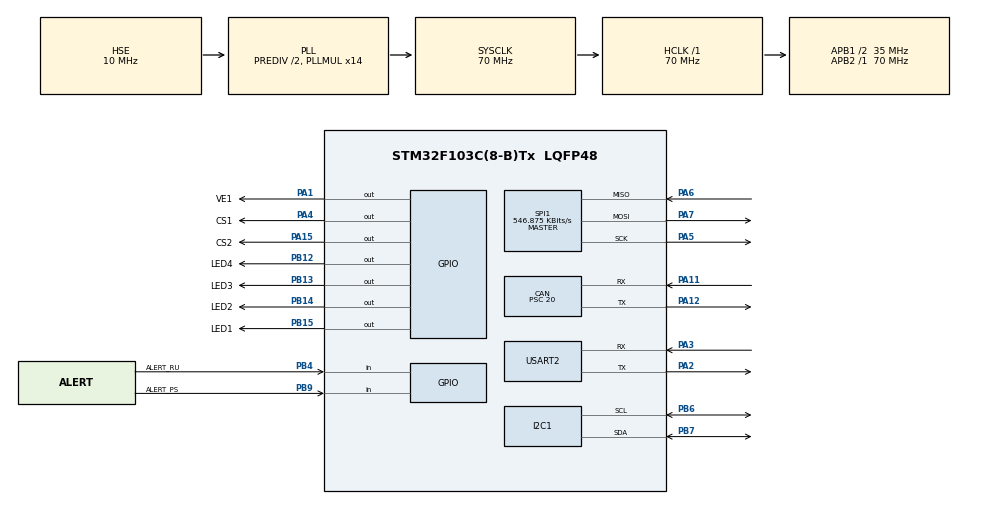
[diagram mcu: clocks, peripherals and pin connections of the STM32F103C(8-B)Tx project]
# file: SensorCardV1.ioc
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CAN.BS1=CAN_BS1_11TQ
CAN.BS2=CAN_BS2_2TQ
CAN.CalculateBaudRate=125000
CAN.CalculateTimeBit=8000
CAN.CalculateTimeQuantum=571.4285714285714
CAN.Prescaler=20
CAN.SJW=CAN_SJW_2TQ
I2C1.I2C_Mode=I2C_Standard
Mcu.Family=STM32F1
Mcu.Name=STM32F103C(8-B)Tx
Mcu.Package=LQFP48
NVIC.CAN1_RX1_IRQn=true\:0\:0\:false\:false\:true\:true\:true\:true
NVIC.PriorityGroup=NVIC_PRIORITYGROUP_4
NVIC.TIM1_BRK_IRQn=true\:0\:0\:false\:false\:true\:true\:true\:true
NVIC.TIM1_UP_IRQn=true\:0\:0\:false\:false\:true\:true\:true\:true
NVIC.TIM2_IRQn=true\:0\:0\:false\:false\:true\:true\:true\:true
NVIC.USART2_IRQn=true\:0\:0\:false\:false\:true\:true\:true\:true
NVIC.USB_LP_CAN1_RX0_IRQn=true\:0\:0\:false\:false\:true\:true\:true\:true
PA1.GPIO_Label=VE1
PA1.Signal=GPIO_Output
PA11.Mode=CAN_Activate
PA11.Signal=CAN_RX
PA12.Mode=CAN_Activate
PA12.Signal=CAN_TX
PA13.Mode=Trace_Asynchronous_SW
PA13.Signal=SYS_JTMS-SWDIO
PA14.Mode=Trace_Asynchronous_SW
PA14.Signal=SYS_JTCK-SWCLK
PA15.GPIO_Label=CS2
PA15.Signal=GPIO_Output
PA2.Mode=Asynchronous
PA2.Signal=USART2_TX
PA3.Mode=Asynchronous
PA3.Signal=USART2_RX
PA4.GPIO_Label=CS1
PA4.Signal=GPIO_Output
PA5.Mode=Full_Duplex_Master
PA5.Signal=SPI1_SCK
PA6.Mode=Full_Duplex_Master
PA6.Signal=SPI1_MISO
PA7.Mode=Full_Duplex_Master
PA7.Signal=SPI1_MOSI
PB12.GPIO_Label=LED4
PB12.Signal=GPIO_Output
PB13.GPIO_Label=LED3
PB13.Signal=GPIO_Output
PB14.GPIO_Label=LED2
PB14.Signal=GPIO_Output
PB15.GPIO_Label=LED1
PB15.Signal=GPIO_Output
PB3.Mode=Trace_Asynchronous_SW
PB3.Signal=SYS_JTDO-TRACESWO
PB4.GPIO_Label=ALERT_RU
PB4.Signal=GPIO_Input
PB6.Mode=I2C
PB6.Signal=I2C1_SCL
PB7.Mode=I2C
PB7.Signal=I2C1_SDA
PB9.GPIO_Label=ALERT_PS
PB9.Signal=GPIO_Input
PD0-OSC_IN.Mode=HSE-External-Oscillator
PD0-OSC_IN.Signal=RCC_OSC_IN
PD1-OSC_OUT.Mode=HSE-External-Oscillator
PD1-OSC_OUT.Signal=RCC_OSC_OUT
ProjectManager.HeapSize=0x200
ProjectManager.StackSize=0x400
ProjectManager.TargetToolchain=MDK-ARM V5.32
RCC.AHBFreq_Value=70000000
RCC.APB1CLKDivider=RCC_HCLK_DIV2
RCC.APB1Freq_Value=35000000
RCC.APB1TimFreq_Value=70000000
RCC.APB2Freq_Value=70000000
RCC.APB2TimFreq_Value=70000000
RCC.HCLKFreq_Value=70000000
RCC.HSEDivPLL=RCC_HSE_PREDIV_DIV2
RCC.HSE_VALUE=10000000
RCC.PLLMUL=RCC_PLL_MUL14
RCC.PLLSourceVirtual=RCC_PLLSOURCE_HSE
RCC.SYSCLKFreq_VALUE=70000000
RCC.SYSCLKSource=RCC_SYSCLKSOURCE_PLLCLK
RCC.USBFreq_Value=70000000
SPI1.BaudRatePrescaler=SPI_BAUDRATEPRESCALER_128
SPI1.CLKPhase=SPI_PHASE_2EDGE
SPI1.CLKPolarity=SPI_POLARITY_LOW
SPI1.CalculateBaudRate=546.875 KBits/s
SPI1.Direction=SPI_DIRECTION_2LINES
SPI1.FirstBit=SPI_FIRSTBIT_MSB
SPI1.Mode=SPI_MODE_MASTER
SPI1.VirtualType=VM_MASTER
TIM1.Period=34999
TIM1.Prescaler=0
TIM2.Period=62499
TIM2.Prescaler=223
USART2.VirtualMode=VM_ASYNC
VP_TIM1_VS_ClockSourceINT.Mode=Internal
VP_TIM2_VS_ClockSourceINT.Mode=Internal
board=custom

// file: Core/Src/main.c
/* USER CODE BEGIN Header */
/**
  ******************************************************************************
  * @file           : main.c
  * @brief          : Main program body
  ******************************************************************************
  * @attention
  *
  * Copyright (c) 2025 STMicroelectronics.
  * All rights reserved.
  *
  * This software is licensed under terms that can be found in the LICENSE file
  * in the root directory of this software component.
  * If no LICENSE file comes with this software, it is provided AS-IS.
  *
  ******************************************************************************
  */
/* USER CODE END Header */
#include "main.h"
#include "can.h"
#include "i2c.h"
#include "spi.h"
#include "tim.h"
#include "usart.h"
#include "gpio.h"

/* USER CODE BEGIN Includes */
#include "ads1115.h"
#include "max31856.h"
#include "stdio.h"
#include "canfunc.h"
#include "math.h"
#include "thermocouple.h"
#include "calculate_fun.h"
/* USER CODE END Includes */

/* USER CODE BEGIN PTD */
#define Q_LEN 2
#define HEX_LEN 3+1 //(3data)
/* USER CODE END PTD */

/* USER CODE BEGIN PD */
const float  offset_0 = 0.0;
const float offset_0_1 = -0.1;
const float offset_0_5 = -0.503;
const float offset_1_0 = -1.003;
const float offset_4_0 = -3.003;
/* USER CODE END PD */

/* USER CODE BEGIN PM */
int test = 0;
/* USER CODE END PM */

/* USER CODE BEGIN PV */
volatile bool cycle_sync = false;
/* USER CODE END PV */

void SystemClock_Config(void);

/* USER CODE BEGIN 0 */

Analog thermo = {0};
Analog pressure1[2] = {{0}};
Analog pressure2[2] = {{0}};
Analog inject_rs = {0};
Analog mold_rs = {0};
Analog inject_rp = {0};
Analog mold_rp = {0};
Analog injectPressure = {0};
Analog moldPressure= {0};

volatile bool Send_permite = false;

Queue Qpressure = {0};
Queue QrulerSpeed = {0};
Queue QrulerMinPos = {0};
Queue QrulerMaxPos = {0};
uint8_t dataStream[8]={0};
//Queue Qpressure2 = {0}; //speed -> pressure2

/* USER CODE END 0 */

int main(void)
{

  /* MCU Configuration--------------------------------------------------------*/

  /* Reset of all peripherals, Initializes the Flash interface and the Systick. */
  HAL_Init();

  /* Configure the system clock */
  SystemClock_Config();

  /* Initialize all configured peripherals */
  MX_GPIO_Init();
  MX_CAN_Init();
  MX_I2C1_Init();
  MX_SPI1_Init();
  MX_USART2_UART_Init();
  MX_TIM1_Init();
  MX_TIM2_Init();
  /* USER CODE BEGIN 2 */
  HAL_TIM_Base_Start_IT(&htim1);
  //HAL_TIM_Base_Start_IT(&htim2);
  HAL_CAN_Start( & hcan);
  HAL_CAN_ActivateNotification( & hcan, CAN_IT_RX_FIFO0_MSG_PENDING);

  HAL_GPIO_WritePin(VE1_GPIO_Port,VE1_Pin,GPIO_PIN_SET);  // enable ADum1401
  HAL_GPIO_WritePin(CS2_GPIO_Port , CS2_Pin, GPIO_PIN_RESET);
  HAL_GPIO_WritePin(CS1_GPIO_Port , CS1_Pin, GPIO_PIN_SET);
  /* USER CODE END 2 */

  /* Infinite loop */
  /* USER CODE BEGIN WHILE */
  printf("\nStart...\n");
  // init the board
//    max_begin(1);
//    setThermocoupleType(MAX31856_ICTYPE_K,1);
    adc_init();
    uint32_t tik = 0, tok = 0;
    VAL_opt opt;
//    strcpy(Qpressure.List[0],"-0");
//    strcpy(Qpressure.List[1],"-0");
//    strcpy(Qpressure.List[0],"-0");
//    strcpy(Qpressure.List[1],"-0");
  int streamValue1 = 0,streamValue2 = 0;
  uint32_t t1 = 0;
  uint32_t t2 = 0;
  while (1)
  {
      t1 = HAL_GetTick();
//      CAN_Pub(NodePub_SensorCard1_ACK,"CARD1",5);
 /*
      ADS1115_ReadADC(&pressure1[inject]);
      ADS1115_ReadADC(&pressure2[inject]);
      ADS1115_ReadADC(&inject_rp);
      streamValue1 = pressure1[inject].i_value + pressure2[inject].i_value;
      streamValue2 = inject_rp.i_value;
      dataStream[0] = 'I';
      dataStream[1] = (streamValue1>>8)&0xFF;
      dataStream[2] = streamValue1&0xFF;
      dataStream[3] = (streamValue2>>8)&0xFF;
      dataStream[4] = streamValue2&0xFF;
      CAN_Pub(NodePub_SensorCard1_ACK,dataStream,5);
*/

////..........................................................................

 cycle_sync = false;
Send_permite = false;
if(cycle_sync == false){
    //tik = HAL_GetTick();
    if(cal_speed(&inject_rs,BASE_500us) < 0 ){
      ADS1115_ReadADC(&pressure1[inject]);
      ADS1115_ReadADC(&pressure2[inject]);
      ADS1115_ReadADC(&inject_rp);
      streamValue1 = pressure1[inject].i_value + pressure2[inject].i_value;
      streamValue2 = inject_rp.i_value;
      dataStream[0] = 'I';
      dataStream[1] = (streamValue1>>8)&0xFF;
      dataStream[2] = streamValue1&0xFF;
      dataStream[3] = (streamValue2>>8)&0xFF;
      dataStream[4] = streamValue2&0xFF;
      CAN_Pub(NodePub_SensorCard1_ACK,dataStream,5);
    } else{
//    if(cal_speed(&mold_rs,BASE_500us) < 1){
      ADS1115_ReadADC(&pressure1[mold]);
      ADS1115_ReadADC(&pressure2[mold]);
      ADS1115_ReadADC(&mold_rp);
      streamValue1 = pressure1[mold].i_value + pressure2[mold].i_value;
      streamValue2 = mold_rp.i_value;
      dataStream[0] = 'M';
      dataStream[1] = (streamValue1>>8)&0xFF;
      dataStream[2] = streamValue1&0xFF;
      dataStream[3] = (streamValue2>>8)&0xFF;
      dataStream[4] = streamValue2&0xFF;
      CAN_Pub(NodePub_SensorCard1_ACK,dataStream,5);
    }
    HAL_GPIO_TogglePin(LED4_GPIO_Port,LED4_Pin);
}else{
    HAL_GPIO_TogglePin(LED1_GPIO_Port,LED1_Pin);

    analog_record(&pressure1[inject],"P1I",MAX_VAL); // Inject pressure(Ip)P1I
    analog_record(&pressure2[inject],"P2I",MAX_VAL);// Inject pressure2(Ip)P2I

    injectPressure.i_maxval = pressure1[inject].i_maxval + pressure2[inject].i_maxval;
    snprintf(injectPressure.str, sizeof(injectPressure.str), "P%d",injectPressure.i_maxval);
    injectPressure.dataMax_hex[0] = 'P';
    injectPressure.dataMax_hex[1] = (injectPressure.i_maxval >>8)&0xFF;
    injectPressure.dataMax_hex[2] =  injectPressure.i_maxval&0xFF;

    //mold close pressure1 record
    analog_record(&pressure1[mold],"P1M",MAX_VAL);// mold pressure1(Mp)P1M
    analog_record(&pressure2[mold],"P2M",MAX_VAL);// mold pressure2(Mp)P2M

    moldPressure.i_maxval = pressure1[mold].i_maxval + pressure2[mold].i_maxval;
    snprintf(moldPressure.str, sizeof(moldPressure.str), "p%d",moldPressure.i_maxval);
    moldPressure.dataMax_hex[0] = 'p';
    moldPressure.dataMax_hex[1] = (moldPressure.i_maxval >>8)&0xFF;
    moldPressure.dataMax_hex[2] =  moldPressure.i_maxval&0xFF;
    analog_queue(&Qpressure,moldPressure.str);

    analog_record(&inject_rs,"S",min_SPEED);// Inject ruler (Rs)RIS
    analog_record(&mold_rs,"s",min_SPEED);// mold ruler (Rs) RMS
    analog_queue(&QrulerSpeed,mold_rs.str);

    analog_record(&inject_rp,"i",min_val);//RIm
    analog_record(&mold_rp,"m",min_val);//  RMm
    analog_queue(&QrulerMinPos,mold_rp.str_posMin);

    analog_record(&inject_rp,"I",MAX_VAL);//RIM
    analog_record(&mold_rp,"M",MAX_VAL);//RMM
    analog_queue(&QrulerMaxPos,mold_rp.str);

    cycle_sync = false;
    Send_permite = true;
}

if(Send_permite == true){

 // inject
    pvalidation(Qpressure.List[Qpressure.Index]);
    pvalidation(injectPressure.str);
    printf("injectPressure(max)=%d\n",injectPressure.i_maxval);
    CAN_Pub(NodeSub_SensorCard1_Data,injectPressure.dataMax_hex,HEX_LEN);

 //mold close
    pvalidation(Qpressure.List[Qpressure.Index]);
    pvalidation(moldPressure.str);
    printf("moldPressure(max)=%d\n",moldPressure.i_maxval);
    CAN_Pub(NodeSub_SensorCard1_Data,moldPressure.dataMax_hex,HEX_LEN);

 //inject ruler speed
    pvalidation(inject_rs.str);
    printf("inject_rspeed(-max)=%d\n",inject_rs.i_minspeed);
    CAN_Pub(NodeSub_SensorCard1_Data,inject_rs.dataSpeedMin_hex,HEX_LEN);

 //mold ruler speed
    pvalidation(QrulerSpeed.List[QrulerSpeed.Index]);
    pvalidation(mold_rs.str);
    printf("mold_rspeed(-max)=%d\n",mold_rs.i_minspeed);
    CAN_Pub(NodeSub_SensorCard1_Data,mold_rs.dataSpeedMin_hex,HEX_LEN);

 //inject ruler min position
    pvalidation(inject_rp.str_posMin);
    printf("inject_rulerPos(min)= %d\n",inject_rp.i_minval);
    CAN_Pub(NodeSub_SensorCard1_Data,inject_rp.dataMin_hex,HEX_LEN);

 //inject ruler max position
    pvalidation(inject_rp.str);
    printf("inject_rulerPos(MAX)= %d\n",inject_rp.i_maxval);
    CAN_Pub(NodeSub_SensorCard1_Data,inject_rp.dataMax_hex,HEX_LEN);

 //mold ruler min position
    pvalidation(mold_rp.str_posMin);
    printf("mold_rulerPos(min)= %d\n",mold_rp.i_minval);
    CAN_Pub(NodeSub_SensorCard1_Data,mold_rp.dataMin_hex,HEX_LEN);

 //mold ruler max position
    pvalidation(mold_rp.str);
    printf("mold_rulerPos(MAX)= %d\n",mold_rp.i_maxval);
    CAN_Pub(NodeSub_SensorCard1_Data,mold_rp.dataMax_hex,HEX_LEN);

    analog_reset(&inject_rs);
    analog_reset(&mold_rs);
    analog_reset(&inject_rp);
    analog_reset(&mold_rp);
    analog_reset(&pressure2[mold]);
    analog_reset(&pressure1[mold]);
    analog_reset(&pressure2[inject]);
    analog_reset(&pressure1[inject]);
    analog_reset(&injectPressure);
    analog_reset(&moldPressure);

    Send_permite = false;
    }
    /* USER CODE END WHILE */

  }
}

void SystemClock_Config(void)
{
  RCC_OscInitTypeDef RCC_OscInitStruct = {0};
  RCC_ClkInitTypeDef RCC_ClkInitStruct = {0};

  /** Initializes the RCC Oscillators according to the specified parameters
  * in the RCC_OscInitTypeDef structure.
  */
  RCC_OscInitStruct.OscillatorType = RCC_OSCILLATORTYPE_HSE;
  RCC_OscInitStruct.HSEState = RCC_HSE_ON;
  RCC_OscInitStruct.HSEPredivValue = RCC_HSE_PREDIV_DIV2;
  RCC_OscInitStruct.HSIState = RCC_HSI_ON;
  RCC_OscInitStruct.PLL.PLLState = RCC_PLL_ON;
  RCC_OscInitStruct.PLL.PLLSource = RCC_PLLSOURCE_HSE;
  RCC_OscInitStruct.PLL.PLLMUL = RCC_PLL_MUL14;
  if (HAL_RCC_OscConfig(&RCC_OscInitStruct) != HAL_OK)
  {
    Error_Handler();
  }

  /** Initializes the CPU, AHB and APB buses clocks
  */
  RCC_ClkInitStruct.ClockType = RCC_CLOCKTYPE_HCLK|RCC_CLOCKTYPE_SYSCLK
                              |RCC_CLOCKTYPE_PCLK1|RCC_CLOCKTYPE_PCLK2;
  RCC_ClkInitStruct.SYSCLKSource = RCC_SYSCLKSOURCE_PLLCLK;
  RCC_ClkInitStruct.AHBCLKDivider = RCC_SYSCLK_DIV1;
  RCC_ClkInitStruct.APB1CLKDivider = RCC_HCLK_DIV2;
  RCC_ClkInitStruct.APB2CLKDivider = RCC_HCLK_DIV1;

  if (HAL_RCC_ClockConfig(&RCC_ClkInitStruct, FLASH_LATENCY_2) != HAL_OK)
  {
    Error_Handler();
  }
}

void Error_Handler(void)
{
  __disable_irq();
  while (1)
  {
  }
}
